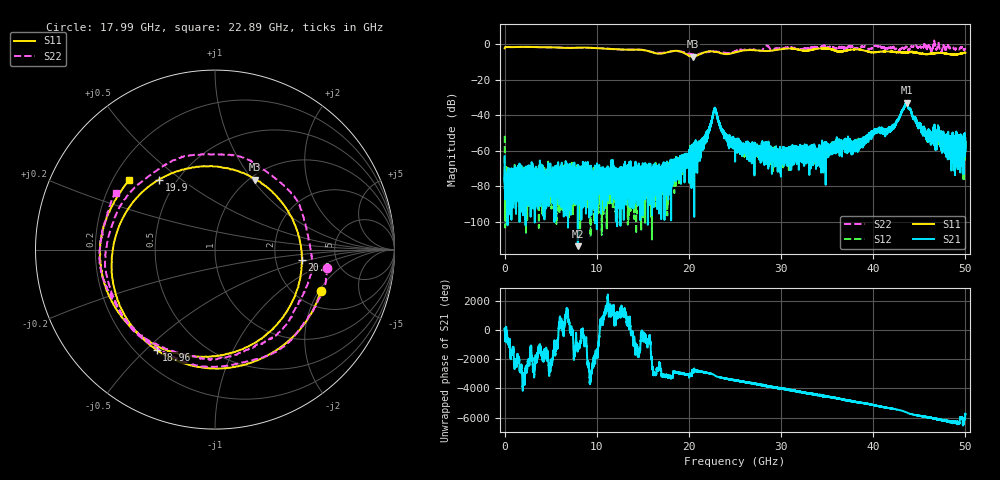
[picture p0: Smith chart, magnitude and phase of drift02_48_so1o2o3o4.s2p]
!Created with skrf (http://scikit-rf.org).
# Hz S RI R 50.0
!freq ReS11 ImS11 ReS21 ImS21 ReS12 ImS12 ReS22 ImS22
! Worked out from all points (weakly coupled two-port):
!   10001 points, 300 kHz to 50 GHz, reference 50 ohm
!   highest |S21| = -32.83 dB at 43.62 GHz (marker M1); lowest = -113.9 dB at 7.945 GHz (marker M2)
!   lowest |S11| = -6.9 dB at 20.4 GHz (marker M3), VSWR 2.64, Z = 52.9 + j51.8 ohm
!   |S11| at or under -10 dB: nowhere
!   |S22| runs from -5.7 to 2.3 dB; largest |S21 - S12| = 0.0034
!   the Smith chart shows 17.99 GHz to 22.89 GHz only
!   S11 on the Smith chart (normalised r, x): 17.99 GHz: 2.72, -2.07; 18.96 GHz: 0.28, -0.54; 19.9 GHz: 0.40, +0.42; 20.9 GHz: 2.83, -0.43; 22.89 GHz: 0.27, +0.33
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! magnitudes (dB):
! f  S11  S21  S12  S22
! 300 kHz  -2.1  -63.0  -51.6  -2.1
! 255.3 MHz  -1.4  -76.1  -84.0  -1.4
! 7.945 GHz  -1.8  -113.9  -78.9  -1.9
! 8.335 GHz  -1.7  -80.2  -90.6  -1.9
! 16.67 GHz  -5.2  -74.6  -81.0  -4.7
! 17.99 GHz  -4.0  -71.3  -67.6  -4.0
! 18.96 GHz  -3.8  -66.1  -65.4  -3.9
! 19.9 GHz  -6.0  -67.4  -62.4  -5.2
! 20.4 GHz  -6.9  -59.9  -60.8  -5.4
! 20.9 GHz  -6.2  -56.4  -55.9  -5.6
! 21.84 GHz  -4.2  -52.7  -51.0  -4.3
! 22.89 GHz  -4.2  -36.5  -36.6  -3.9
! 23.79 GHz  -5.3  -50.7  -49.2  -4.6
! 25 GHz  -4.5  -55.8  -56.0  -3.9
! 29.73 GHz  -2.9  -59.8  -60.3  -2.1
! 33.34 GHz  -3.0  -66.0  -59.8  -1.6
! 38.06 GHz  -2.8  -55.9  -56.3  -2.2
! 41.67 GHz  -3.9  -48.2  -48.1  -2.0
! 43.62 GHz  -4.5  -32.8  -33.4  -1.6
! 45.71 GHz  -5.4  -49.5  -49.9  -1.0
! 48.92 GHz  -5.6  -55.9  -61.4  -2.7
! 50 GHz  -4.7  -55.2  -61.2  -2.7
